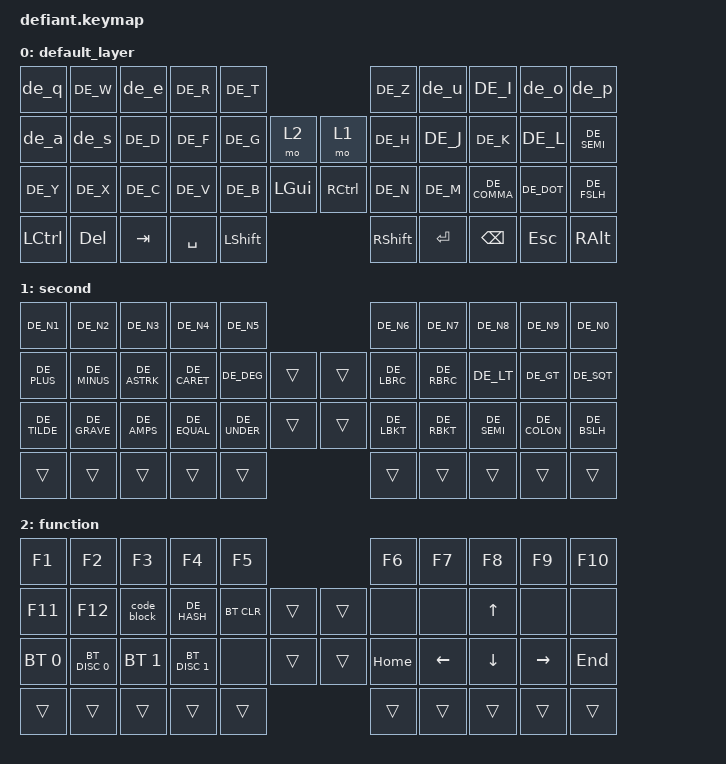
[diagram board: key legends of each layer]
#include <behaviors.dtsi>
#include <dt-bindings/zmk/keys.h>
#include <dt-bindings/zmk/bt.h>
#include "keys_de.h"


/ {
    behaviors {
        de_q: de_q {
            compatible = "zmk,behavior-mod-morph";
            #binding-cells = <0>;
            bindings = <&kp DE_Q>, <&kp DE_AT>; // Q, @
            mods = <(MOD_RALT)>;
        };

        de_e: de_e {
            compatible = "zmk,behavior-mod-morph";
            #binding-cells = <0>;
            bindings = <&kp DE_E>, <&kp DE_EURO>; // E, €
            mods = <(MOD_RALT)>;
        };

        de_a: de_a {
            compatible = "zmk,behavior-mod-morph";
            #binding-cells = <0>;
            bindings = <&kp DE_A>, <&kp DE_A_UMLAUT>; // A, ä
            mods = <(MOD_RALT)>;
        };

        de_o: de_o {
            compatible = "zmk,behavior-mod-morph";
            #binding-cells = <0>;
            bindings = <&kp DE_O>, <&kp DE_O_UMLAUT>; // O, ö
            mods = <(MOD_RALT)>;
        };

        de_u: de_u {
            compatible = "zmk,behavior-mod-morph";
            #binding-cells = <0>;
            bindings = <&kp DE_U>, <&kp DE_U_UMLAUT>; // U, ü
            mods = <(MOD_RALT)>;
        };

        de_s: de_s {
            compatible = "zmk,behavior-mod-morph";
            #binding-cells = <0>;
            bindings = <&kp DE_S>, <&kp DE_SZ>; // S, ß
            mods = <(MOD_RALT)>;
        };

        de_p: de_p {
            compatible = "zmk,behavior-mod-morph";
            #binding-cells = <0>;
            bindings = <&kp DE_P>, <&kp DE_POUND>; // S, ß
            mods = <(MOD_RALT)>;
        };

        de_m: de_m {
            compatible = "zmk,behavior-mod-morph";
            #binding-cells = <0>;
            bindings = <&kp DE_M>, <&kp DE_MU>; // M, µ
            mods = <(MOD_RALT)>;
        };

    };

    combos {
        compatible = "zmk,combos";

        reset_right {
            bindings = <&bootloader>;
            key-positions = <16 28 43>;
        };

        reset_left {
            bindings = <&bootloader>;
            key-positions = <15 27 34>;
        };
    };

macros {
    code_block: code_block {
        compatible = "zmk,behavior-macro";
        #binding-cells = <0>;
        bindings = <&kp DE_ACUTE &kp DE_ACUTE &kp DE_ACUTE>;
    };
};

keymap {
    compatible = "zmk,keymap";

    default_layer {
        bindings = <
&de_q      &kp DE_W &de_e    &kp DE_R      &kp DE_T                                      &kp DE_Z    &de_u    &kp DE_I      &de_o      &de_p
&de_a      &de_s    &kp DE_D &kp DE_F      &kp DE_G    &mo 2             &mo 1           &kp DE_H    &kp DE_J &kp DE_K      &kp DE_L   &kp DE_SEMI
&kp DE_Y   &kp DE_X &kp DE_C &kp DE_V      &kp DE_B    &kp LGUI          &kp RCTRL       &kp DE_N    &kp DE_M &kp DE_COMMA  &kp DE_DOT &kp DE_FSLH
&kp LCTRL  &kp DEL  &kp TAB  &kp SPACE     &kp LSHIFT                                    &kp RSHIFT  &kp RET  &kp BSPC      &kp ESC    &kp RALT
        >;
    };

second {
    bindings = <
&kp DE_N1    &kp DE_N2    &kp DE_N3    &kp DE_N4    &kp DE_N5                      &kp DE_N6   &kp DE_N7   &kp DE_N8   &kp DE_N9    &kp DE_N0
&kp DE_PLUS  &kp DE_MINUS &kp DE_ASTRK &kp DE_CARET &kp DE_DEG   &trans   &trans   &kp DE_LBRC &kp DE_RBRC &kp DE_LT   &kp DE_GT    &kp DE_SQT
&kp DE_TILDE &kp DE_GRAVE &kp DE_AMPS  &kp DE_EQUAL &kp DE_UNDER &trans   &trans   &kp DE_LBKT &kp DE_RBKT &kp DE_SEMI &kp DE_COLON &kp DE_BSLH
&trans       &trans       &trans       &trans       &trans                         &trans      &trans      &trans      &trans       &trans
    >;
};

    function {
        bindings = <
&kp F1       &kp F2        &kp F3       &kp F4        &kp F5                          &kp F6      &kp F7     &kp F8     &kp F9     &kp F10
&kp F11      &kp F12       &code_block  &kp DE_HASH   &bt BT_CLR &trans    &trans     &none       &none      &kp UP     &none      &none
&bt BT_SEL 0 &bt BT_DISC 0 &bt BT_SEL 1 &bt BT_DISC 1 &none      &trans    &trans     &kp HOME    &kp LEFT   &kp DOWN   &kp RIGHT  &kp END
&trans       &trans        &trans       &trans        &trans                          &trans      &trans     &trans     &trans     &trans
        >;
    };
};
};
